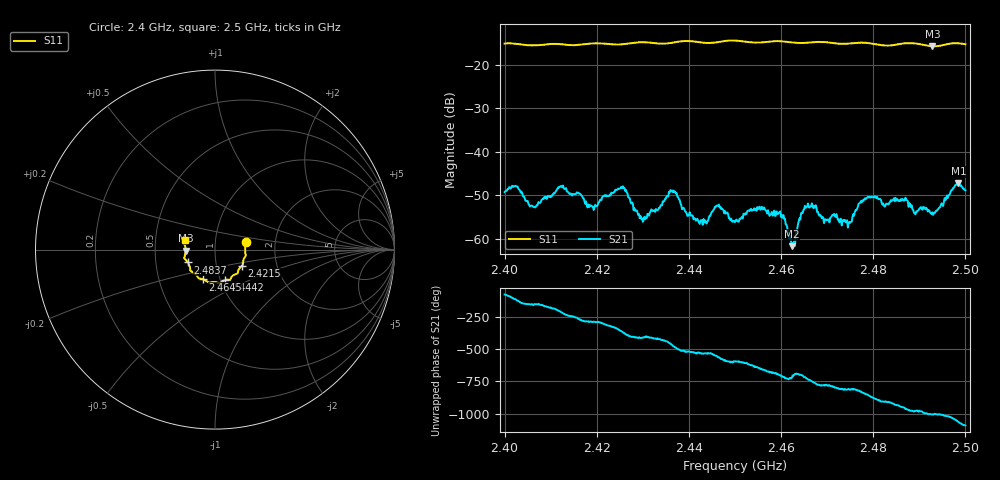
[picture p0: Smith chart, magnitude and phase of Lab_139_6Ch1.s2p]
# Hz S RI R 50
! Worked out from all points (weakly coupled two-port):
!   601 points, 2.4 GHz to 2.5 GHz, reference 50 ohm
!   highest |S21| = -47.22 dB at 2.4985 GHz (marker M1); lowest = -61.7 dB at 2.4623 GHz (marker M2)
!   lowest |S11| = -15.7 dB at 2.4928 GHz (marker M3), VSWR 1.39, Z = 36 - j0.371 ohm
!   |S11| at or under -10 dB: start of sweep to end of sweep
!   S12 and S22 are empty: the file has one direction only
!   S11 on the Smith chart (normalised r, x): 2.4 GHz: 1.41, +0.12; 2.4215 GHz: 1.33, -0.25; 2.4442 GHz: 1.05, -0.37; 2.4645 GHz: 0.83, -0.29; 2.4837 GHz: 0.73, -0.11; 2.5 GHz: 0.71, +0.07
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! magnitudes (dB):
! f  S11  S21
! 2.4 GHz  -15.1  -49.2
! 2.4063 GHz  -15.5  -52.7
! 2.4167 GHz  -15.3  -50.0
! 2.4215 GHz  -15.1  -50.2
! 2.4258 GHz  -15.2  -48.3
! 2.4302 GHz  -14.8  -55.7
! 2.4333 GHz  -15.1  -53.3
! 2.4365 GHz  -14.9  -49.3
! 2.4442 GHz  -15.0  -55.8
! 2.4463 GHz  -14.7  -52.4
! 2.45 GHz  -14.4  -56.2
! 2.4595 GHz  -14.5  -54.0
! 2.4623 GHz  -14.8  -61.7
! 2.4645 GHz  -15.0  -53.9
! 2.4667 GHz  -14.8  -51.8
! 2.4745 GHz  -15.1  -57.4
! 2.4787 GHz  -15.0  -50.5
! 2.4833 GHz  -15.6  -52.1
! 2.4837 GHz  -15.5  -51.5
! 2.4928 GHz  -15.7  -53.9
! 2.4985 GHz  -15.0  -47.2
! 2.5 GHz  -15.3  -48.9
